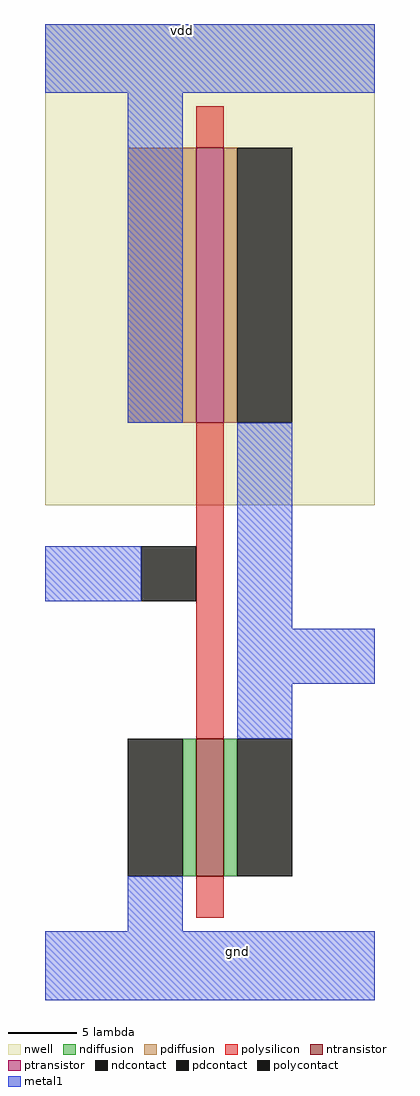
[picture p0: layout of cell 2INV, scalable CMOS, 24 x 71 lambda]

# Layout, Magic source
magic
tech scmos
<< nwell >>
rect 0 81 24 116
<< polysilicon >>
rect 11 107 13 110
rect 11 64 13 87
rect 11 51 13 54
<< ndiffusion >>
rect 10 54 11 64
rect 13 54 14 64
<< pdiffusion >>
rect 6 87 11 107
rect 13 87 14 107
<< metal1 >>
rect 0 111 24 116
rect 6 87 10 111
rect 0 74 7 78
rect 14 72 18 87
rect 14 68 24 72
rect 14 64 18 68
rect 6 50 10 54
rect 0 45 24 50
<< ntransistor >>
rect 11 54 13 64
<< ptransistor >>
rect 11 87 13 107
<< polycontact >>
rect 7 74 11 78
<< ndcontact >>
rect 6 54 10 64
rect 14 54 18 64
<< pdcontact >>
rect 14 87 18 107
<< labels >>
rlabel metal1 6 115 14 116 5 vdd
rlabel metal1 10 48 18 49 1 gnd
<< end >>
